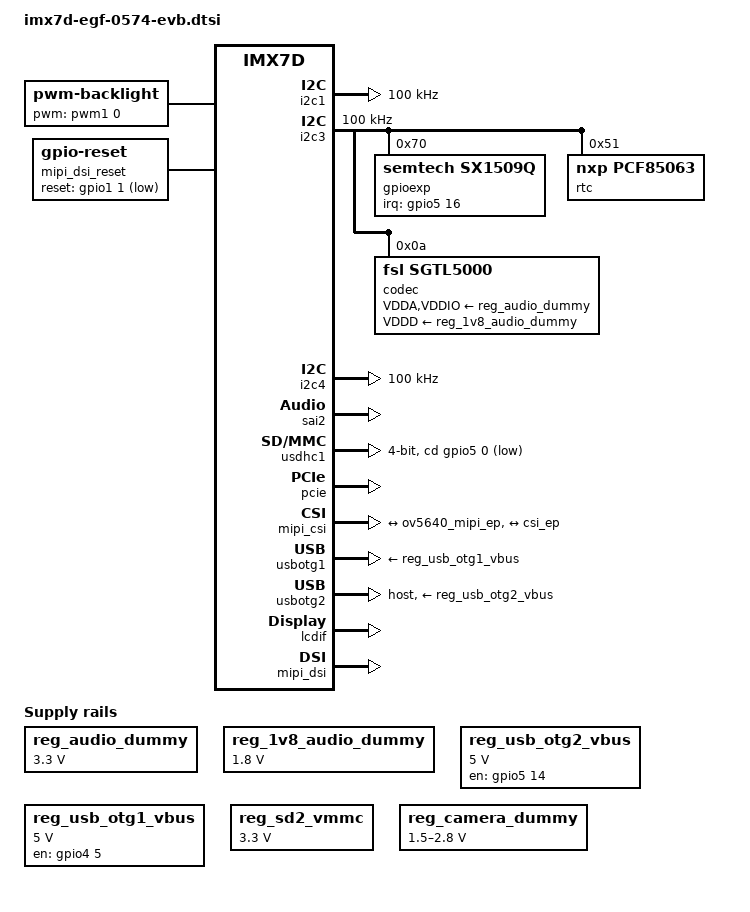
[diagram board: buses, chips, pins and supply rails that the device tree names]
/*
 * Copyright (C) 2015 Freescale Semiconductor, Inc.
 *
 * This program is free software; you can redistribute it and/or modify
 * it under the terms of the GNU General Public License version 2 as
 * published by the Free Software Foundation.
 */

/*
 * Hardware on evb
 * gpio port expander SX1509
 * rtc PCF85063ATL
 * audio codec SGTL 5000
 * backlight regulators pwm *2 -> solo pwm1 x backlight
 * sim card connector
 * MIPI -> LVDS bridge SN65DSI83
 */

/ {
	backlight {
		compatible = "pwm-backlight";
		pwms = <&pwm1 0 50000>;
		brightness-levels = <0 4 8 16 32 64 128 255>;
		default-brightness-level = <6>;
		status = "okay";
	};

	regulators {
		compatible = "simple-bus";
		#address-cells = <1>;
		#size-cells = <0>;

		reg_audio_dummy: regulator@100 {
			compatible = "regulator-fixed";
			reg = <100>;
			regulator-name = "audio_vdda_vddio";
			regulator-min-microvolt = <3300000>;
			regulator-max-microvolt = <3300000>;
			regulator-always-on;
		};
		
		reg_1v8_audio_dummy: regulator@101 {
			compatible = "regulator-fixed";
			reg = <101>;
			regulator-name = "audio_vddd";
			regulator-min-microvolt = <1800000>;
			regulator-max-microvolt = <1800000>;
			regulator-always-on;		
		};

		/* pin SD2-DAT0 */
		reg_usb_otg2_vbus: regulator@102 {
			compatible = "regulator-fixed";
			reg = <102>;
			regulator-name = "usb_otg2_vbus";
			regulator-min-microvolt = <5000000>;
			regulator-max-microvolt = <5000000>;
			gpio = <&gpio5 14 GPIO_ACTIVE_HIGH>;
			enable-active-high;
		};

		/*  pin USB-OTG1-PWR */
		reg_usb_otg1_vbus: regulator@103 {
			compatible = "regulator-fixed";
			reg = <103>;
			regulator-name = "usb_otg1_vbus";
			regulator-min-microvolt = <5000000>;
			regulator-max-microvolt = <5000000>;
			gpio = <&gpio4 5 GPIO_ACTIVE_HIGH>;
			enable-active-high;
		};

		reg_sd2_vmmc: regulator@104 {
			compatible = "regulator-fixed";
			reg = <104>;
			regulator-name = "VDD_SD2";
			regulator-min-microvolt = <3300000>;
			regulator-max-microvolt = <3300000>;
		};
		
		reg_camera_dummy: regulator@105 {
			compatible = "regulator-fixed";
			reg = <105>;
			regulator-name = "reg-camera-dummy";
			regulator-min-microvolt = <1500000>;
			regulator-max-microvolt = <2800000>;
		};
	};
	
	mipi_dsi_reset: mipi-dsi-reset {
		compatible = "gpio-reset";
		/* HACK: We don't have a RESET GPIO but it is required by driver */
		/* so we chose a not muxed GPIO (GPIO1_IO01 pin is muxed as PWM1) */
		reset-gpios = <&gpio1 1 GPIO_ACTIVE_LOW>; 
		reset-delay-us = <1000>;
		#reset-cells = <0>;
	};
	
	sound {
		compatible = "egf,imx7-egf-sgtl5000",
			     "simple-audio-card";
		simple-audio-card,name = "imx7-egf-sgtl5000-audio";
		simple-audio-card,format = "i2s";
		simple-audio-card,bitclock-master = <&codec_dai>;
		simple-audio-card,frame-master = <&codec_dai>;
		simple-audio-card,widgets =
			"Headphone", "Headphone Jack",
			"Line", "Line In Jack",
			"Microphone", "Mic Jack";
		simple-audio-card,routing =
			"MIC_IN", "Mic Jack",
			"LINE_IN", "Line In Jack",
			"Headphone Jack", "HP_OUT";
		cpu_dai: simple-audio-card,cpu {
			sound-dai = <&sai2>;
		};
 
		codec_dai: simple-audio-card,codec {
			sound-dai = <&codec>;
		};
	};
};

&clks {
	assigned-clocks = <&clks IMX7D_PLL_AUDIO_POST_DIV>;
	assigned-clock-rates = <884736000>;
};

&csi1 {
	csi-mux-mipi = <&gpr 0x14 4>;
	status = "disabled";

	port {
		csi_ep: endpoint {
			remote-endpoint = <&csi_mipi_ep>;
		};
	};
};

&i2c1 {
	clock-frequency = <100000>;
	pinctrl-names = "default";
	pinctrl-0 = <>;
	status = "okay";
	
	ov5640_mipi: ov5640_mipi@3c {
		compatible = "ovti,ov5640_mipi";
		reg = <0x3c>;
		clocks = <&clks IMX7D_CLK_DUMMY>;
		clock-names = "csi_mclk";
		csi_id = <0>;
		pwn-gpios = <&gpioexp 6 1>;   /* active low / gpioexp  */
		rst-gpios = <&gpioexp 7 0>;   /* active high / gpioexp */
		DOVDD-supply = <&reg_camera_dummy>; /* 1.8v */
		AVDD-supply = <&reg_camera_dummy>;  /* 2.8v,*/
		DVDD-supply = <&reg_camera_dummy>;  /* 1.5v */
		mclk = <24000000>;
		mclk_source = <0>;
		status="disabled";
		port {
			ov5640_mipi_ep: endpoint {
				remote-endpoint = <&mipi_sensor_ep>;
			};
		};
	};
};

&i2c3 {
	clock-frequency = <100000>;
	pinctrl-names = "default";
	pinctrl-0 = <>;
	status = "okay";
	
	gpioexp: sx1509@70 {
		#gpio-cells = <2>;
		#interrupt-cells = <2>;
		compatible = "semtech,sx1509q";
		reg = <0x70>;
		interrupt-parent = <&gpio5>;
		interrupts = <16 1>;
		gpio-controller;
		reset_during_probe;
	};
	
	rtc@51 {
		compatible = "nxp,pcf85063";
		reg = <0x51>;
	};
	
	codec: sgtl5000@0a {
		#sound-dai-cells = <0>;
		compatible = "fsl,sgtl5000";
		reg = <0x0a>;
		clocks = <&clks IMX7D_AUDIO_MCLK_ROOT_CLK>;
		clock-names = "mclk";
		VDDA-supply = <&reg_audio_dummy>;
		VDDIO-supply = <&reg_audio_dummy>;
		VDDD-supply = <&reg_1v8_audio_dummy>;
	};
};

&i2c4 {
	clock-frequency = <100000>;
	pinctrl-names = "default";
	pinctrl-0 = <>;
	status = "okay";
};

&sai2 {
	pinctrl-names = "default";
	pinctrl-0 = <>;
	#sound-dai-cells = <0>;
	assigned-clocks = <&clks IMX7D_SAI2_ROOT_SRC>,
			  <&clks IMX7D_SAI2_ROOT_CLK>;
	assigned-clock-parents = <&clks IMX7D_PLL_AUDIO_POST_DIV>;
	assigned-clock-rates = <0>, <36864000>;
	status = "okay";
};

/* pwm4 */
&pwm4 {
	status = "disabled";
};

/* uSD */
&usdhc1 {
	pinctrl-names = "default";
	pinctrl-0 = <>;
	bus-width = <4>;
	no-1-8-v;
	cd-gpios = <&gpio5 0 1>;
	status = "okay";
};

/* pci */
&pcie {
	status = "okay";
};

/* camera */
&mipi_csi {
	clock-frequency = <240000000>;
	status = "okay";
	port {
		mipi_sensor_ep: endpoint1 {
			remote-endpoint = <&ov5640_mipi_ep>;
			data-lanes = <2>;
			csis-hs-settle = <13>;
			csis-clk-settle = <2>;
			csis-wclk;
		};

		csi_mipi_ep: endpoint2 {
			remote-endpoint = <&csi_ep>;
		};
	};
};

/* usb otg1 */
&usbotg1 {
	vbus-supply = <&reg_usb_otg1_vbus>;
	status = "okay";
};

/* usb host (otg2) */
&usbotg2 {
	vbus-supply = <&reg_usb_otg2_vbus>;
	dr_mode = "host";
	status = "okay";
};


&lcdif {
	pinctrl-names = "default";
	pinctrl-0 = <>;
	display = <&display0>;
	disp-dev = "mipi_dsi_samsung";
	status = "okay";

	display0: display {
		bits-per-pixel = <24>;
		bus-width = <24>;

		display-timings {
			native-mode = <&timing0>;
			timing0: timing0 {
			clock-frequency = <51200000>;
			hactive = <1024>;
			vactive = <600>;
			hfront-porch = <160>;
			hback-porch = <160>;
			hsync-len = <60>;
			vback-porch = <23>;
			vfront-porch = <12>;
			vsync-len = <10>;

			hsync-active = <0>;
			vsync-active = <0>;
			de-active = <1>;
			pixelclk-active = <0>;
			};
		};
	};
};

&mipi_dsi {
	pinctrl-names = "default";
	pinctrl-0 = <>;
	lcd_panel = "EGF-BLC1133";
	resets = <&mipi_dsi_reset>;
	status = "okay";
};




